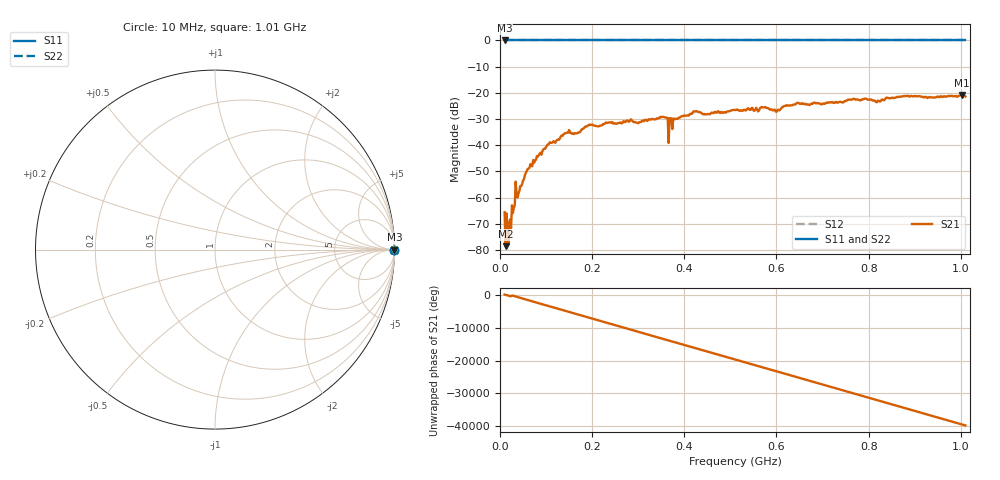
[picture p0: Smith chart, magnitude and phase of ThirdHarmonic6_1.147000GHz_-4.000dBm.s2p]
! 8/16/2025 11:20:15 AM
! C:\ANRITSUVNA\TEMP\TEMP.S2P
! CHANNEL.1
! TR.MEASUREMENT
! RAW.DATA
! RF.CORRECTION.OFF
! AVERAGING.OFF
! IF.BANDWIDTH: 5KHZ
! SWEEPTYPE:  FREQ.SWEEP(Linear)
! Reference Plane Port Info
! PORT:  PORT1  PORT2
! DISTANCE:  0  m  0  m
! TIME:  0  s  0  s
! PHASE.OFFSET:  0  deg.  0  deg.
! LOSS:  0  dB  0  dB
! REF.LOSS:  0  dB  0  dB
! REF.FREQ:  0  Hz  0  Hz
! Power Info
! POWER:  -20  dBm  -20  dBm
! EFF.POWER:  -20  dBm  -20  dBm
! SOURCE.ATTEN:  0  dB  0  dB
! TEST.ATTEN:  0  dB  0  dB
# GHZ S RI R 50.0
! FREQ.GHZ  S11RE  S11IM  S21RE  S21IM  S12RE  S12IM  S22RE  S22IM
!; PortSelection: Port_12
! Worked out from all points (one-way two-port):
!   501 points, 10 MHz to 1.01 GHz, reference 50 ohm
!   highest |S21| = -20.82 dB at 1.002 GHz (marker M1); lowest = -78.5 dB at 12 MHz (marker M2)
!   lowest |S11| = 0.0 dB at 10 MHz (marker M3)
!   |S11| at or under -10 dB: nowhere
!   |S22| runs from 0.0 to 0.0 dB; largest |S21 - S12| = 1.1
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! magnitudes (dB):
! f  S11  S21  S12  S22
! 10 MHz  0.0  -65.6  0.0  0.0
! 12 MHz  0.0  -78.5  0.0  0.0
! 16 MHz  0.0  -70.5  0.0  0.0
! 20 MHz  0.0  -69.7  0.0  0.0
! 28 MHz  0.0  -65.9  0.0  0.0
! 30 MHz  0.0  -63.9  0.0  0.0
! 38 MHz  0.0  -60.0  0.0  0.0
! 62 MHz  0.0  -49.0  0.0  0.0
! 84 MHz  0.0  -43.8  0.0  0.0
! 142 MHz  0.0  -35.5  0.0  0.0
! 178 MHz  0.0  -33.9  0.0  0.0
! 344 MHz  0.0  -29.7  0.0  0.0
! 360 MHz  0.0  -29.5  0.0  0.0
! 370 MHz  0.0  -29.8  0.0  0.0
! 372 MHz  0.0  -29.7  0.0  0.0
! 424 MHz  0.0  -27.1  0.0  0.0
! 510 MHz  0.0  -26.5  0.0  0.0
! 602 MHz  0.0  -26.5  0.0  0.0
! 678 MHz  0.0  -24.2  0.0  0.0
! 844 MHz  0.0  -22.0  0.0  0.0
! 1.002 GHz  0.0  -20.8  0.0  0.0
! 1.01 GHz  0.0  -21.4  0.0  0.0
